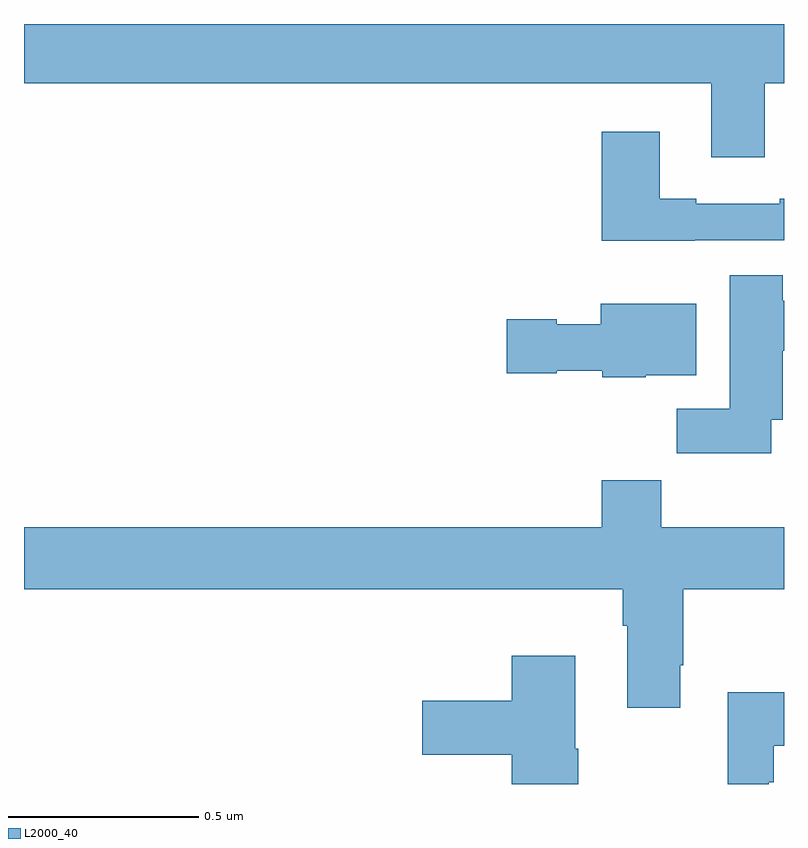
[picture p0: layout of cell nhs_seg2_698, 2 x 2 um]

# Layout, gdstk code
import gdstk
lib = gdstk.Library(unit=1e-6, precision=1e-09)
def P(c, l, *ps):  # polygons
    for p in ps: c.add(gdstk.Polygon(p, *l))
L2000_40 = (2000, 40)

nhs_seg2_698 = lib.new_cell('nhs_seg2_698')
P(nhs_seg2_698, L2000_40, [(120.949,639.644),(121,639.644),(121,639.8),(119,639.8),(119,639.644),(120.809,639.644),(120.809,639.45),(120.949,639.45)],
  [(120.765,639.231),(121,639.231),(121,639.34),(120.989,639.34),(120.989,639.327),(120.769,639.327),(120.769,639.34),(120.673,639.34),(120.673,639.517),(120.521,639.517),(120.521,639.23),(120.765,639.23)],
  [(120.967,638.759),(120.997,638.759),(120.997,638.94),(121,638.94),(121,639.072),(120.997,639.072),(120.997,639.139),(120.857,639.139),(120.857,638.788),(120.718,638.788),(120.718,638.67),(120.967,638.67)],
  [(120.636,638.876),(120.769,638.876),(120.769,639.064),(120.518,639.064),(120.518,639.01),(120.402,639.01),(120.402,639.023),(120.27,639.023),(120.27,638.881),(120.402,638.881),(120.402,638.888),(120.522,638.888),(120.522,638.87),(120.636,638.87)],
  [(120.727,638.113),(120.735,638.113),(120.735,638.312),(121,638.312),(121,638.476),(120.677,638.476),(120.677,638.6),(120.521,638.6),(120.521,638.476),(119,638.476),(119,638.312),(120.575,638.312),(120.575,638.216),(120.587,638.216),(120.587,638.001),(120.727,638.001)],
  [(120.459,637.893),(120.451,637.893),(120.451,638.137),(120.284,638.137),(120.284,638.019),(120.048,638.019),(120.048,637.877),(120.284,637.877),(120.284,637.8),(120.459,637.8)],
  [(120.96,637.805),(120.973,637.805),(120.973,637.901),(121,637.901),(121,638.041),(120.852,638.041),(120.852,637.8),(120.96,637.8)])

lib.write_gds('nhs_seg2_698.gds')
